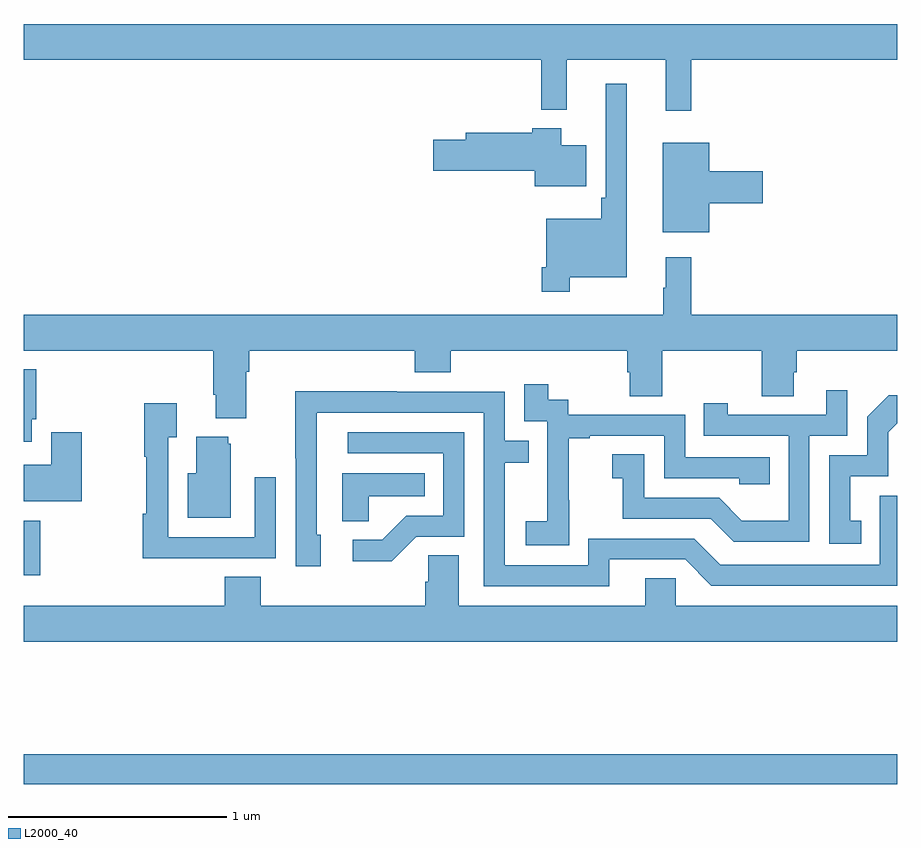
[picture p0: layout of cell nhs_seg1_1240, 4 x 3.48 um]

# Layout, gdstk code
import gdstk
lib = gdstk.Library(unit=1e-6, precision=1e-09)
def R(c, l, rs):  # rectangles x0, y0, x1, y1
    for r in rs: c.add(gdstk.rectangle(r[:2], r[2:], *l))
def P(c, l, *ps):  # polygons
    for p in ps: c.add(gdstk.Polygon(p, *l))
L2000_40 = (2000, 40)

nhs_seg1_1240 = lib.new_cell('nhs_seg1_1240')
R(nhs_seg1_1240, L2000_40, [(179,504.46,183,504.596), (179,505.416,179.075,505.665)])
P(nhs_seg1_1240, L2000_40, [(182.057,507.776),(183,507.776),(183,507.94),(179,507.94),(179,507.776),(181.369,507.776),(181.369,507.548),(181.487,507.548),(181.487,507.776),(181.94,507.776),(181.94,507.543),(182.057,507.543)],
  [(181.501,506.78),(181.762,506.78),(181.762,507.667),(181.665,507.667),(181.665,507.145),(181.645,507.145),(181.645,507.049),(181.392,507.049),(181.392,506.827),(181.372,506.827),(181.372,506.715),(181.501,506.715)],
  [(181.576,507.385),(181.462,507.385),(181.462,507.463),(181.328,507.463),(181.328,507.441),(181.025,507.441),(181.025,507.411),(180.876,507.411),(180.876,507.269),(181.34,507.269),(181.34,507.197),(181.576,507.197)],
  [(182.14,507.119),(182.383,507.119),(182.383,507.266),(182.14,507.266),(182.14,507.397),(181.925,507.397),(181.925,506.987),(182.14,506.987)],
  [(180.019,506.348),(180.032,506.348),(180.032,506.444),(180.791,506.444),(180.791,506.345),(180.956,506.345),(180.956,506.444),(181.763,506.444),(181.763,506.346),(181.775,506.346),(181.775,506.236),(181.923,506.236),(181.923,506.444),(182.38,506.444),(182.38,506.236),(182.527,506.236),(182.527,506.346),(182.54,506.346),(182.54,506.444),(183,506.444),(183,506.608),(182.057,506.608),(182.057,506.872),(181.94,506.872),(181.94,506.732),(181.929,506.732),(181.929,506.608),(179,506.608),(179,506.444),(179.867,506.444),(179.867,506.242),(179.879,506.242),(179.879,506.135),(180.019,506.135)],
  [(179.037,506.131),(179.057,506.131),(179.057,506.359),(179,506.359),(179,506.028),(179.037,506.028)],
  [(181.497,505.759),(181.496,505.759),(181.496,506.043),(181.591,506.043),(181.591,506.055),(181.932,506.055),(181.932,505.86),(182.277,505.86),(182.277,505.833),(182.417,505.833),(182.417,505.956),(182.028,505.956),(182.028,506.151),(181.494,506.151),(181.494,506.22),(181.402,506.22),(181.402,506.29),(181.293,506.29),(181.293,506.121),(181.398,506.121),(181.398,505.892),(181.397,505.892),(181.397,505.663),(181.299,505.663),(181.299,505.553),(181.497,505.553)],
  [(182.598,506.055),(182.772,506.055),(182.772,506.263),(182.675,506.263),(182.675,506.151),(182.224,506.151),(182.224,506.203),(182.113,506.203),(182.113,506.055),(182.502,506.055),(182.502,505.666),(182.288,505.666),(182.184,505.77),(181.842,505.77),(181.842,505.969),(181.695,505.969),(181.695,505.859),(181.744,505.859),(181.744,505.674),(182.147,505.674),(182.252,505.569),(182.598,505.569)],
  [(181.681,505.488),(182.028,505.488),(182.148,505.368),(183,505.368),(183,505.779),(182.919,505.779),(182.919,505.464),(182.19,505.464),(182.07,505.584),(181.584,505.584),(181.584,505.461),(181.203,505.461),(181.203,505.93),(181.313,505.93),(181.313,506.031),(181.203,506.031),(181.203,506.256),(180.707,506.256),(180.707,506.258),(180.244,506.258),(180.244,505.951),(180.246,505.951),(180.246,505.458),(180.361,505.458),(180.361,505.602),(180.342,505.602),(180.342,506.16),(181.107,506.16),(181.107,505.365),(181.681,505.365)],
  [(182.834,505.665),(182.785,505.665),(182.785,505.869),(182.958,505.869),(182.958,506.07),(183,506.112),(183,506.24),(182.96,506.24),(182.862,506.142),(182.862,505.965),(182.688,505.965),(182.688,505.56),(182.834,505.56)],
  [(179.837,505.494),(180.153,505.494),(180.153,505.864),(180.057,505.864),(180.057,505.59),(179.661,505.59),(179.661,506.047),(179.701,506.047),(179.701,506.203),(179.553,506.203),(179.553,505.958),(179.56,505.958),(179.56,505.697),(179.545,505.697),(179.545,505.493),(179.837,505.493)],
  [(179.266,506.071),(179.126,506.071),(179.126,505.921),(179,505.921),(179,505.754),(179.266,505.754)],
  [(180.798,505.593),(181.017,505.593),(181.017,506.07),(180.483,506.07),(180.483,505.974),(180.921,505.974),(180.921,505.689),(180.752,505.689),(180.641,505.578),(180.507,505.578),(180.507,505.481),(180.685,505.481)],
  [(179.947,506.019),(179.936,506.019),(179.936,506.05),(179.789,506.05),(179.789,505.882),(179.75,505.882),(179.75,505.679),(179.947,505.679)],
  [(180.579,505.778),(180.836,505.778),(180.836,505.882),(180.458,505.882),(180.458,505.663),(180.579,505.663)],
  [(183,505.276),(181.986,505.276),(181.986,505.403),(181.847,505.403),(181.847,505.276),(180.991,505.276),(180.991,505.508),(180.852,505.508),(180.852,505.385),(180.839,505.385),(180.839,505.276),(180.086,505.276),(180.086,505.409),(179.921,505.409),(179.921,505.276),(179,505.276),(179,505.112),(183,505.112)])

lib.write_gds('nhs_seg1_1240.gds')
